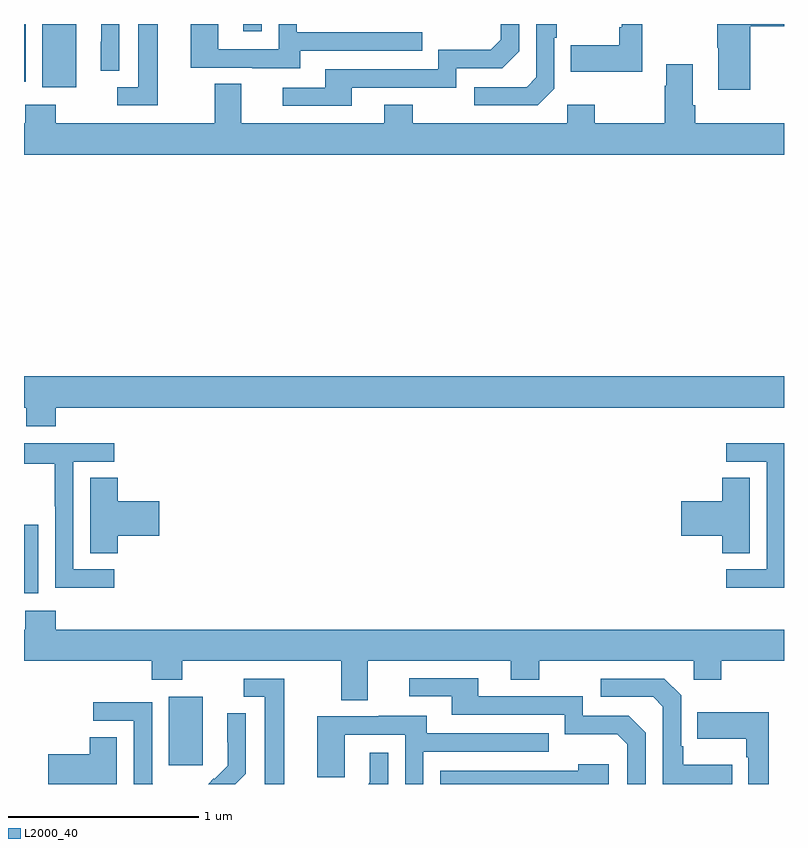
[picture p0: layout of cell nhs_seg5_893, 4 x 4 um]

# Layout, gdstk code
import gdstk
lib = gdstk.Library(unit=1e-6, precision=1e-09)
def R(c, l, rs):  # rectangles x0, y0, x1, y1
    for r in rs: c.add(gdstk.rectangle(r[:2], r[2:], *l))
def P(c, l, *ps):  # polygons
    for p in ps: c.add(gdstk.Polygon(p, *l))
L2000_40 = (2000, 40)

nhs_seg5_893 = lib.new_cell('nhs_seg5_893')
R(nhs_seg5_893, L2000_40, [(169.763,834.897,169.942,835.258), (169,835.802,169.075,836.163), (169.097,838.466,169.276,838.799), (169,838.495,169.008,838.799), (170.153,838.761,170.25,838.799)])
P(nhs_seg5_893, L2000_40, [(169.5,838.799),(169.406,838.799),(169.406,838.706),(169.404,838.706),(169.404,838.552),(169.5,838.552)],
  [(169.705,838.799),(169.601,838.799),(169.601,838.467),(169.491,838.467),(169.491,838.371),(169.705,838.371)],
  [(172.255,838.799),(172.146,838.799),(172.146,838.783),(172.134,838.783),(172.134,838.687),(171.877,838.687),(171.877,838.547),(172.255,838.547)],
  [(170.455,838.659),(171.095,838.659),(171.095,838.755),(170.436,838.755),(170.436,838.799),(170.34,838.799),(170.34,838.665),(170.022,838.665),(170.022,838.799),(169.877,838.799),(169.877,838.569),(170.201,838.569),(170.201,838.565),(170.455,838.565)],
  [(170.725,838.464),(171.276,838.464),(171.276,838.566),(171.516,838.566),(171.606,838.656),(171.606,838.799),(171.51,838.799),(171.51,838.716),(171.457,838.663),(171.18,838.663),(171.18,838.56),(170.585,838.56),(170.585,838.464),(170.361,838.464),(170.361,838.368),(170.725,838.368)],
  [(171.792,838.458),(171.792,838.727),(171.805,838.727),(171.805,838.799),(171.696,838.799),(171.696,838.518),(171.645,838.467),(171.369,838.467),(171.369,838.371),(171.705,838.371)],
  [(172.823,838.787),(173,838.787),(173,838.799),(172.648,838.799),(172.648,838.675),(172.655,838.675),(172.655,838.452),(172.823,838.452)],
  [(173,838.276),(172.532,838.276),(172.532,838.372),(172.519,838.372),(172.519,838.588),(172.379,838.588),(172.379,838.475),(172.372,838.475),(172.372,838.276),(172.005,838.276),(172.005,838.375),(171.858,838.375),(171.858,838.276),(171.045,838.276),(171.045,838.375),(170.897,838.375),(170.897,838.276),(170.143,838.276),(170.143,838.484),(170.003,838.484),(170.003,838.276),(169.167,838.276),(169.167,838.375),(169.007,838.375),(169.007,838.276),(169,838.276),(169,838.112),(173,838.112)],
  [(169.166,836.78),(173,836.78),(173,836.944),(169,836.944),(169,836.78),(169.013,836.78),(169.013,836.681),(169.166,836.681)],
  [(173,836.592),(172.695,836.592),(172.695,836.496),(172.908,836.496),(172.908,835.929),(172.695,835.929),(172.695,835.831),(173,835.831)],
  [(169.474,835.929),(169.26,835.929),(169.26,836.496),(169.474,836.496),(169.474,836.592),(169,836.592),(169,836.484),(169.162,836.484),(169.162,836.26),(169.164,836.26),(169.164,835.831),(169.474,835.831)],
  [(172.819,836.411),(172.676,836.411),(172.676,836.288),(172.458,836.288),(172.458,836.105),(172.676,836.105),(172.676,836.014),(172.819,836.014)],
  [(169.493,836.105),(169.711,836.105),(169.711,836.288),(169.493,836.288),(169.493,836.411),(169.349,836.411),(169.349,836.014),(169.493,836.014)],
  [(170.809,835.448),(171.563,835.448),(171.563,835.349),(171.711,835.349),(171.711,835.448),(172.524,835.448),(172.524,835.349),(172.671,835.349),(172.671,835.448),(173,835.448),(173,835.612),(169.166,835.612),(169.166,835.711),(169.006,835.711),(169.006,835.612),(169,835.612),(169,835.448),(169.673,835.448),(169.673,835.349),(169.833,835.349),(169.833,835.448),(170.669,835.448),(170.669,835.24),(170.809,835.24)],
  [(172.272,835.068),(172.182,835.158),(171.942,835.158),(171.942,835.26),(171.391,835.26),(171.391,835.356),(171.027,835.356),(171.027,835.26),(171.251,835.26),(171.251,835.164),(171.846,835.164),(171.846,835.061),(172.123,835.061),(172.176,835.008),(172.176,834.799),(172.272,834.799)],
  [(172.727,834.901),(172.471,834.901),(172.471,834.997),(172.458,834.997),(172.458,835.266),(172.371,835.353),(172.035,835.353),(172.035,835.257),(172.311,835.257),(172.362,835.206),(172.362,834.799),(172.727,834.799)],
  [(170.371,835.353),(170.157,835.353),(170.157,835.257),(170.267,835.257),(170.267,834.799),(170.371,834.799)],
  [(169.677,834.8),(169.674,834.8),(169.674,835.23),(169.365,835.23),(169.365,835.131),(169.578,835.131),(169.578,834.799),(169.677,834.799)],
  [(172.921,835.177),(172.543,835.177),(172.543,835.037),(172.8,835.037),(172.8,834.941),(172.812,834.941),(172.812,834.799),(172.921,834.799)],
  [(170.166,834.854),(170.166,835.172),(170.07,835.172),(170.07,835.018),(170.072,835.018),(170.072,834.896),(170.001,834.825),(169.998,834.828),(169.969,834.799),(170.111,834.799)],
  [(171.102,834.969),(171.761,834.969),(171.761,835.065),(171.121,835.065),(171.121,835.159),(170.867,835.159),(170.867,835.155),(170.543,835.155),(170.543,834.835),(170.688,834.835),(170.688,835.059),(171.006,835.059),(171.006,834.799),(171.102,834.799)],
  [(169.489,835.046),(169.346,835.046),(169.346,834.956),(169.128,834.956),(169.128,834.799),(169.489,834.799)],
  [(170.916,834.964),(170.819,834.964),(170.819,834.807),(170.811,834.799),(170.916,834.799)],
  [(172.078,834.904),(171.917,834.904),(171.917,834.87),(171.192,834.87),(171.192,834.799),(172.078,834.799)])

lib.write_gds('nhs_seg5_893.gds')
